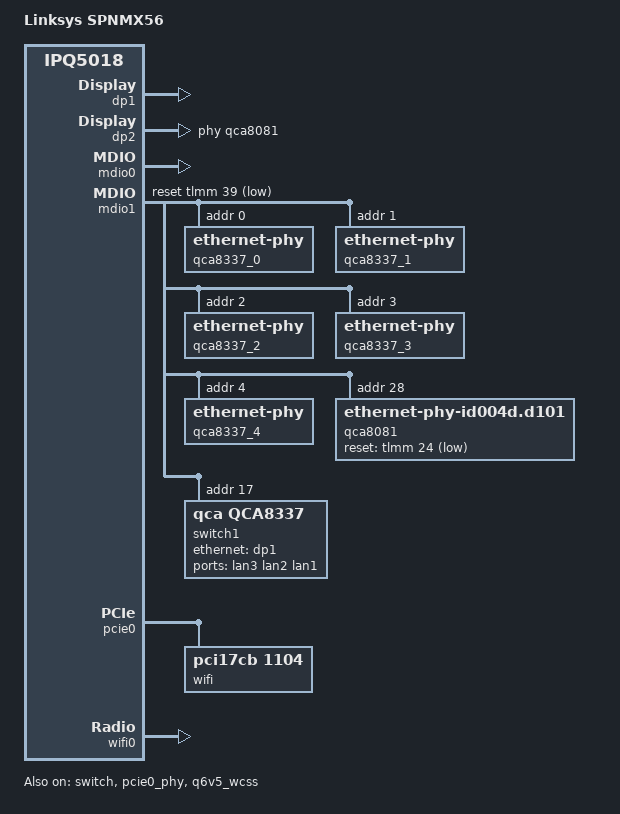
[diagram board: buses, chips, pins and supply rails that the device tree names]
/dts-v1/;

#include "ipq5018.dtsi"
#include "ipq5018-mx-base.dtsi"

/ {
	model = "Linksys SPNMX56";
	compatible = "linksys,spnmx56", "qcom,ipq5018";
};

/*
* =================================================================
*     _______________________             _______________________
*    |        IPQ5018        |           |        QCA8337        |
*    | +------+   +--------+ |           | +--------+   +------+ |
*    | | MAC0 |---| GE Phy |-+--- MDI ---+ | Phy4   |---| MAC5 | |
*    | +------+   +--------+ |           | +--------+   +------+ |
*    |                       |           |_______________________|
*    |                       |            _______________________
*    |                       |           |        QCA8081        |
*    | +------+   +--------+ |           | +--------+   +------+ |
*    | | MAC1 |---| Uniphy |-+-- SGMII+--+ | Phy    |---| MAC  | |
*    | +------+   +--------+ |           | +--------+   +------+ |
*    |_______________________|           |_______________________|
*
* =================================================================
*/

&switch {
	status = "okay";

	switch_mac_mode = <MAC_MODE_SGMII_CHANNEL0>;

	qcom,port_phyinfo {
		// MAC0 -> GE Phy --- MDI --- QCA8337 Switch
		port@0 {
			port_id = <1>;
			mdiobus = <&mdio0>;
			phy_address = <7>;
			phy_dac = <0x10 0x10>;
		};

		// MAC1 -> Uniphy --- SGMII --- QCA8081
		port@1 {
			port_id = <2>;
			mdiobus = <&mdio1>;
			phy_address = <28>;
			port_mac_sel = "QGMAC_PORT";
		};
	};
};

// MAC0 -> GE Phy
&dp1 {
	status = "okay";
};

// MAC1 ---SGMII---> QCA8081
&dp2 {
	status = "okay";

	label = "wan";
	phy-handle = <&qca8081>;
};

&mdio0 {
	status = "okay";
};

// IPQ5018 GE Phy -> QCA8337 PHY4
&ge_phy {
	qcom,dac-preset-short-cable;
};

&mdio1 {
	status = "okay";

	pinctrl-0 = <&mdio1_pins>;
	pinctrl-names = "default";
	reset-gpios = <&tlmm 39 GPIO_ACTIVE_LOW>;

	// Not connected
	qca8337_0: ethernet-phy@0 {
		reg = <0>;
	};

	// QCA8337 Phy1 -> LAN1
	qca8337_1: ethernet-phy@1 {
		reg = <1>;
	};

	// QCA8337 Phy2 -> LAN2
	qca8337_2: ethernet-phy@2 {
		reg = <2>;
	};

	// QCA8337 Phy3 -> LAN3
	qca8337_3: ethernet-phy@3 {
		reg = <3>;
	};

	// QCA8337 Phy4 -> MDI -> IPQ5018 GE PHY
	qca8337_4: ethernet-phy@4 {
		reg = <4>;
	};

	// QCA8081 Phy -> WAN
	qca8081: ethernet-phy@28 {
		compatible = "ethernet-phy-id004d.d101";
		reg = <28>;
		reset-deassert-us = <10000>;
		reset-gpios = <&tlmm 24 GPIO_ACTIVE_LOW>;
	};

	// QCA8337 switch
	switch1: ethernet-switch@17 {
		compatible = "qca,qca8337";
		reg = <17>;
		#address-cells = <1>;
		#size-cells = <0>;

		ports {
			#address-cells = <1>;
			#size-cells = <0>;

			port@2 {
				reg = <2>;
				label = "lan3";
				phy-handle = <&qca8337_1>;
			};

			port@3 {
				reg = <3>;
				label = "lan2";
				phy-handle = <&qca8337_2>;
			};

			port@4 {
				reg = <4>;
				label = "lan1";
				phy-handle = <&qca8337_3>;
			};

			port@5 {
				reg = <5>;
				phy-handle = <&qca8337_4>;
				phy-mode = "gmii";
				ethernet = <&dp1>;
			};
		};
	};
};

&pcie0_phy {
	status = "okay";
};

&pcie0 {
	status = "okay";

	perst-gpios = <&tlmm 15 GPIO_ACTIVE_LOW>;

	pcie@0 {
		wifi@0,0 {
			status = "okay";

			/* QCN9074: ath11k lacks DT compatible for PCI cards */
			compatible = "pci17cb,1104";
			reg = <0x00010000 0 0 0 0>;

			qcom,ath11k-calibration-variant = "Linksys-SPNMX56";
		};
	};
};

&q6v5_wcss {
	status = "okay";

	memory-region = <&q6_mem_regions>;
	firmware-name = "ath11k/IPQ5018/hw1.0/q6_fw.mdt",
			"ath11k/IPQ5018/hw1.0/m3_fw.mdt";

	// IPQ5018
	q6_wcss_pd1: pd-1 {
		firmware-name = "ath11k/IPQ5018/hw1.0/q6_fw.mdt";

		resets =
			<&gcc GCC_WCSSAON_RESET>,
			<&gcc GCC_WCSS_BCR>,
			<&gcc GCC_CE_BCR>;
		reset-names =
			"wcss_aon_reset",
			"wcss_reset",
			"ce_reset";

		clocks =
			<&gcc GCC_WCSS_AHB_S_CLK>,
			<&gcc GCC_WCSS_ACMT_CLK>,
			<&gcc GCC_WCSS_AXI_M_CLK>;
		clock-names =
			"gcc_wcss_ahb_s_clk",
			"gcc_wcss_acmt_clk",
			"gcc_wcss_axi_m_clk";

		interrupts-extended =
			<&wcss_smp2p_in 8 0>,
			<&wcss_smp2p_in 9 0>,
			<&wcss_smp2p_in 12 0>,
			<&wcss_smp2p_in 11 0>;
		interrupt-names =
			"fatal",
			"ready",
			"spawn-ack",
			"stop-ack";

		qcom,smem-states =
			<&wcss_smp2p_out 8>,
			<&wcss_smp2p_out 9>,
			<&wcss_smp2p_out 10>;
		qcom,smem-state-names =
			"shutdown",
			"stop",
			"spawn";
	};
};

&wifi0 {
	// IPQ5018
	qcom,rproc = <&q6_wcss_pd1>;
	qcom,ath11k-calibration-variant = "Linksys-SPNMX56";
	qcom,ath11k-fw-memory-mode = <1>;
	qcom,bdf-addr = <0x4c400000>;

	status = "okay";
};
